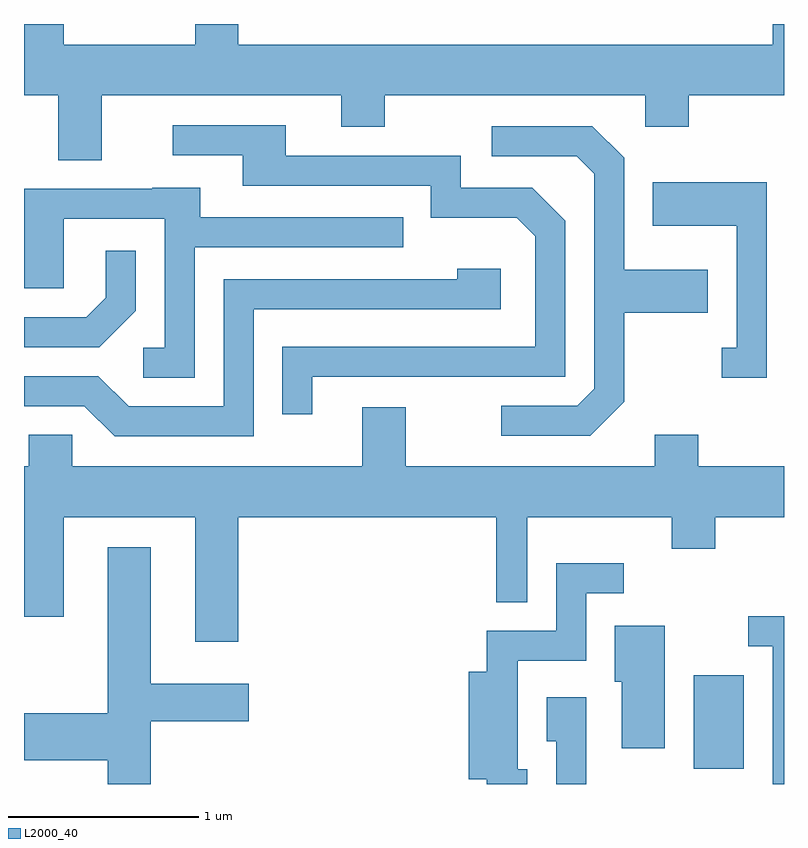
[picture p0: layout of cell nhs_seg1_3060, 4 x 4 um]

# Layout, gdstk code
import gdstk
lib = gdstk.Library(unit=1e-6, precision=1e-09)
def R(c, l, rs):  # rectangles x0, y0, x1, y1
    for r in rs: c.add(gdstk.rectangle(r[:2], r[2:], *l))
def P(c, l, *ps):  # polygons
    for p in ps: c.add(gdstk.Polygon(p, *l))
L2000_40 = (2000, 40)

nhs_seg1_3060 = lib.new_cell('nhs_seg1_3060')
R(nhs_seg1_3060, L2000_40, [(281.136,913.791,281.399,914.284)])
P(nhs_seg1_3060, L2000_40, [(278.019,917.336),(279.281,917.336),(279.281,917.171),(279.509,917.171),(279.509,917.336),(280.881,917.336),(280.881,917.171),(281.109,917.171),(281.109,917.336),(281.611,917.336),(281.611,917.712),(281.551,917.712),(281.551,917.604),(278.739,917.604),(278.739,917.712),(278.511,917.712),(278.511,917.604),(277.819,917.604),(277.819,917.712),(277.611,917.712),(277.611,917.336),(277.791,917.336),(277.791,916.996),(278.019,916.996)],
  [(279.129,915.856),(280.459,915.856),(280.459,916.677),(280.287,916.849),(279.909,916.849),(279.909,917.019),(278.989,917.019),(278.989,917.179),(278.393,917.179),(278.393,917.021),(278.761,917.021),(278.761,916.861),(279.751,916.861),(279.751,916.691),(280.204,916.691),(280.301,916.594),(280.301,916.014),(278.971,916.014),(278.971,915.658),(279.129,915.658)],
  [(280.769,915.724),(280.769,916.191),(281.209,916.191),(281.209,916.419),(280.769,916.419),(280.769,917.007),(280.602,917.174),(280.073,917.174),(280.073,917.016),(280.519,917.016),(280.611,916.924),(280.611,915.792),(280.524,915.704),(280.123,915.704),(280.123,915.546),(280.592,915.546)],
  [(281.519,916.879),(280.921,916.879),(280.921,916.651),(281.361,916.651),(281.361,916.009),(281.283,916.009),(281.283,915.851),(281.519,915.851)],
  [(278.509,916.536),(279.608,916.536),(279.608,916.694),(278.539,916.694),(278.539,916.849),(278.285,916.849),(278.285,916.844),(277.611,916.844),(277.611,916.321),(277.819,916.321),(277.819,916.686),(278.351,916.686),(278.351,916.009),(278.238,916.009),(278.238,915.851),(278.509,915.851)],
  [(278.199,916.204),(278.199,916.518),(278.041,916.518),(278.041,916.272),(277.939,916.169),(277.611,916.169),(277.611,916.011),(278.007,916.011)],
  [(278.819,916.211),(280.119,916.211),(280.119,916.424),(279.891,916.424),(279.891,916.369),(278.661,916.369),(278.661,915.699),(278.162,915.699),(278.002,915.859),(277.611,915.859),(277.611,915.701),(277.929,915.701),(278.089,915.541),(278.819,915.541)],
  [(278.739,915.116),(280.096,915.116),(280.096,914.668),(280.259,914.668),(280.259,915.116),(281.021,915.116),(281.021,914.951),(281.249,914.951),(281.249,915.116),(281.611,915.116),(281.611,915.384),(281.159,915.384),(281.159,915.549),(280.931,915.549),(280.931,915.384),(279.619,915.384),(279.619,915.694),(279.391,915.694),(279.391,915.384),(277.864,915.384),(277.864,915.549),(277.636,915.549),(277.636,915.384),(277.611,915.384),(277.611,914.591),(277.819,914.591),(277.819,915.116),(278.511,915.116),(278.511,914.461),(278.739,914.461)],
  [(278.279,914.041),(278.794,914.041),(278.794,914.239),(278.279,914.239),(278.279,914.959),(278.051,914.959),(278.051,914.084),(277.611,914.084),(277.611,913.836),(278.051,913.836),(278.051,913.712),(278.279,913.712)],
  [(280.259,913.789),(280.209,913.789),(280.209,914.361),(280.569,914.361),(280.569,914.716),(280.768,914.716),(280.768,914.874),(280.411,914.874),(280.411,914.519),(280.046,914.519),(280.046,914.304),(279.951,914.304),(279.951,913.736),(280.046,913.736),(280.046,913.712),(280.259,913.712)],
  [(281.611,914.594),(281.423,914.594),(281.423,914.436),(281.551,914.436),(281.551,913.712),(281.611,913.712)],
  [(280.984,914.544),(280.721,914.544),(280.721,914.251),(280.756,914.251),(280.756,913.901),(280.984,913.901)],
  [(280.569,914.169),(280.361,914.169),(280.361,913.936),(280.411,913.936),(280.411,913.712),(280.569,913.712)])

lib.write_gds('nhs_seg1_3060.gds')
